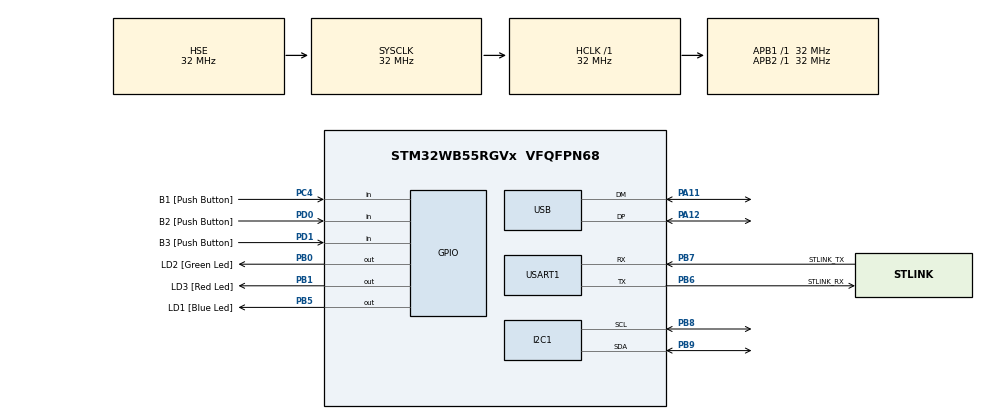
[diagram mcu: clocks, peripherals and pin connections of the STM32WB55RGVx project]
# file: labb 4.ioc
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Mcu.Family=STM32WB
RCC.CortexFreq_Value=32000000
RCC.SMPSCLockSelectionVirtualVirtual=RCC_SMPSCLKSOURCE_HSI
USART1.WordLength=WORDLENGTH_7B
PA14.GPIO_Label=JTCK
PD0.GPIO_Label=B2 [Push Button]
PA11.Mode=Device
PB0.GPIO_Label=LD2 [Green Led]
PB6.GPIO_Label=STLINK_RX
RCC.SYSCLKSource=RCC_SYSCLKSOURCE_HSE
ProjectManager.StackSize=0x400
PA12.Signal=USB_DP
TIM1.Prescaler=3200-1
RCC.HCLKFreq_Value=32000000
RCC.APB2TimFreq_Value=32000000
PB6.Signal=USART1_TX
PB5.PinState=GPIO_PIN_RESET
PB6.Mode=Asynchronous
PD0.Signal=GPIO_Input
OSC_OUT.Mode=HSE-External-Oscillator
OSC_OUT.Signal=RCC_OSC_OUT
RCC.AHBFreq_Value=32000000
RCC.HSE_VALUE=32000000
PB3.Mode=Trace_Asynchronous_SW
PD1.GPIO_Label=B3 [Push Button]
PC14-OSC32_IN.Mode=LSE-External-Oscillator
PC4.GPIO_Label=B1 [Push Button]
PA14.Mode=Trace_Asynchronous_SW
PB1.GPIO_Label=LD3 [Red Led]
PB7.Signal=USART1_RX
VP_TIM1_VS_ClockSourceINT.Mode=Internal
RCC.APB3Freq_Value=16000000
PB7.GPIO_Label=STLINK_TX
Mcu.Package=VFQFPN68
PB9.Signal=I2C1_SDA
TIM2.Prescaler=32-1
PB1.Signal=GPIO_Output
PB5.GPIO_Label=LD1 [Blue Led]
RCC.APB1TimFreq_Value=32000000
TIM1.Period=10000-1
RCC.SMPSDivider=1
RCC.HSI48_VALUE=48000000
RCC.PLLSAI1N=24
PB3.GPIO_Label=JTDO
PB7.GPIO_PuPd=GPIO_PULLUP
PB5.GPIO_ModeDefaultOutputPP=GPIO_MODE_OUTPUT_PP
PC15-OSC32_OUT.Mode=LSE-External-Oscillator
PC13.Signal=SYS_WKUP2
PB6.GPIO_PuPd=GPIO_PULLUP
PC4.Signal=GPIO_Input
PD1.Signal=GPIO_Input
PC14-OSC32_IN.Signal=RCC_OSC32_IN
USART1.VirtualMode-Asynchronous=VM_ASYNC
PA13.Signal=SYS_JTMS-SWDIO
ProjectManager.TargetToolchain=STM32CubeIDE
PB9.Mode=I2C
I2C1.Timing=0x00707CBB
OSC_IN.Signal=RCC_OSC_IN
RCC.USBFreq_Value=48000000
PC15-OSC32_OUT.Signal=RCC_OSC32_OUT
RCC.SMPSCLockSelectionVirtual=RCC_SMPSCLKSOURCE_HSI
board=NUCLEO-WB55RG
RCC.VCOOutputFreq_Value=128000000
RCC.APB2Freq_Value=32000000
VP_TIM2_VS_ClockSourceINT.Mode=Internal
RCC.ADCFreq_Value=48000000
TIM2.Period=0xffff-1
PA13.Mode=Trace_Asynchronous_SW
PC13.Mode=SYS_WakeUp1
Mcu.Name=STM32WB55RGVx
PA13.GPIO_Label=JTMS
PB3.Signal=SYS_JTDO-SWO
RCC.SYSCLKFreq_VALUE=32000000
PB5.Signal=GPIO_Output
PA12.Mode=Device
OSC_IN.Mode=HSE-External-Oscillator
PB7.Mode=Asynchronous
PA11.Signal=USB_DM
PA14.Signal=SYS_JTCK-SWCLK
ProjectManager.HeapSize=0x200
RCC.HSI_VALUE=16000000
NVIC.TIM1_UP_TIM16_IRQn=true\:0\:0\:false\:false\:true\:true\:true
NVIC.PriorityGroup=NVIC_PRIORITYGROUP_4
RCC.PLLN=32
PB8.Mode=I2C
PB8.Signal=I2C1_SCL
RCC.APB1Freq_Value=32000000
PB0.Signal=GPIO_Output

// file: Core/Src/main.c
/* USER CODE BEGIN Header */
/**
 ******************************************************************************
 * @file           : main.c
 * @brief          : Main program body
 ******************************************************************************
 * @attention
 *
 * <h2><center>&copy; Copyright (c) 2021 STMicroelectronics.
 * All rights reserved.</center></h2>
 *
 * This software component is licensed by ST under BSD 3-Clause license,
 * the "License"; You may not use this file except in compliance with the
 * License. You may obtain a copy of the License at:
 *                        opensource.org/licenses/BSD-3-Clause
 *
 ******************************************************************************
 */
/* USER CODE END Header */
#include "main.h"

/* USER CODE BEGIN Includes */
#include "lcd.h"
/* USER CODE END Includes */

I2C_HandleTypeDef hi2c1;

TIM_HandleTypeDef htim1;
TIM_HandleTypeDef htim2;

UART_HandleTypeDef huart1;

PCD_HandleTypeDef hpcd_USB_FS;

/* USER CODE BEGIN PV */
static TextLCDType lcd;
static int sec1;
static int sec10;
static int min1;
static int min10;
/* USER CODE END PV */

void SystemClock_Config(void);
static void MX_GPIO_Init(void);
static void MX_USART1_UART_Init(void);
static void MX_USB_PCD_Init(void);
static void MX_TIM1_Init(void);
static void MX_TIM2_Init(void);
static void MX_I2C1_Init(void);

int main(void)
{

	/* MCU Configuration--------------------------------------------------------*/

	/* Reset of all peripherals, Initializes the Flash interface and the Systick. */
	HAL_Init();

	/* Configure the system clock */
	SystemClock_Config();

	/* Initialize all configured peripherals */
	MX_GPIO_Init();
	MX_USART1_UART_Init();
	MX_USB_PCD_Init();
	MX_TIM1_Init();
	MX_TIM2_Init();
	MX_I2C1_Init();
	/* USER CODE BEGIN 2 */
	HAL_TIM_Base_Start_IT(&htim1);
	HAL_TIM_Base_Start(&htim2);
	TextLCD_Init(&lcd, &hi2c1, 0x4E);
	//HAL_GPIO_WritePin(GPIOB, GPIO_PIN_5, 1);

	/* USER CODE END 2 */

	/* Infinite loop */
	/* USER CODE BEGIN WHILE */
	while (1)
	{
		//delay_us(200);
		HAL_GPIO_WritePin(GPIOB,GPIO_PIN_0,1);
		HAL_GPIO_WritePin(GPIOB,GPIO_PIN_1,0);
		HAL_GPIO_WritePin(GPIOB,GPIO_PIN_5,1);
		HAL_Delay(200);
		/* USER CODE END WHILE */

		/* USER CODE BEGIN 3 */
	}

	void delay_us(uint16_t us){
		__HAL_TIM_SET_COUNTER(&htim2,0);
		while (__HAL_TIM_GET_COUNTER(&htim2) < us);
	}

	void HAL_TIM_PeriodElapsedCallback(TIM_HandleTypeDef *htim){
		if(htim->Instance==TIM1){
			if(++sec1>9){
				sec1=0;
				sec10++;
			}

			if(sec10 > 5){
				min1++;
				sec10 = 0;
			}

			if(min1 > 9)
			{
				min10++;
				min1=0;
			}

			if(min10>5)
				min10=0;

		}
		TextLCD_Position(&lcd, 6, 0);
		TextLCD_Data(&lcd, '0'+min10);	//Set 10 minute digit
		TextLCD_Position(&lcd, 7, 0);
		TextLCD_Data(&lcd, '0'+min1);	//set 1 minute digit
		TextLCD_Position(&lcd, 8, 0);
		TextLCD_Data(&lcd, ':');
		TextLCD_Position(&lcd, 9, 0);
		TextLCD_Data(&lcd, '0'+sec10);	//set 10 second digit
		TextLCD_Position(&lcd, 10, 0);
		TextLCD_Data(&lcd, '0'+sec1);	//set 1 second digit

	}

	/* USER CODE END 3 */
}

void SystemClock_Config(void)
{
	RCC_OscInitTypeDef RCC_OscInitStruct = {0};
	RCC_ClkInitTypeDef RCC_ClkInitStruct = {0};
	RCC_PeriphCLKInitTypeDef PeriphClkInitStruct = {0};

	/** Macro to configure the PLL multiplication factor
	 */
	__HAL_RCC_PLL_PLLM_CONFIG(RCC_PLLM_DIV1);
	/** Macro to configure the PLL clock source
	 */
	__HAL_RCC_PLL_PLLSOURCE_CONFIG(RCC_PLLSOURCE_MSI);
	/** Configure LSE Drive Capability
	 */
	HAL_PWR_EnableBkUpAccess();
	__HAL_RCC_LSEDRIVE_CONFIG(RCC_LSEDRIVE_LOW);
	/** Configure the main internal regulator output voltage
	 */
	__HAL_PWR_VOLTAGESCALING_CONFIG(PWR_REGULATOR_VOLTAGE_SCALE1);
	/** Initializes the RCC Oscillators according to the specified parameters
	 * in the RCC_OscInitTypeDef structure.
	 */
	RCC_OscInitStruct.OscillatorType = RCC_OSCILLATORTYPE_HSI|RCC_OSCILLATORTYPE_HSE
			|RCC_OSCILLATORTYPE_LSE|RCC_OSCILLATORTYPE_MSI;
	RCC_OscInitStruct.HSEState = RCC_HSE_ON;
	RCC_OscInitStruct.LSEState = RCC_LSE_ON;
	RCC_OscInitStruct.HSIState = RCC_HSI_ON;
	RCC_OscInitStruct.MSIState = RCC_MSI_ON;
	RCC_OscInitStruct.HSICalibrationValue = RCC_HSICALIBRATION_DEFAULT;
	RCC_OscInitStruct.MSICalibrationValue = RCC_MSICALIBRATION_DEFAULT;
	RCC_OscInitStruct.MSIClockRange = RCC_MSIRANGE_6;
	RCC_OscInitStruct.PLL.PLLState = RCC_PLL_NONE;
	if (HAL_RCC_OscConfig(&RCC_OscInitStruct) != HAL_OK)
	{
		Error_Handler();
	}
	/** Configure the SYSCLKSource, HCLK, PCLK1 and PCLK2 clocks dividers
	 */
	RCC_ClkInitStruct.ClockType = RCC_CLOCKTYPE_HCLK4|RCC_CLOCKTYPE_HCLK2
			|RCC_CLOCKTYPE_HCLK|RCC_CLOCKTYPE_SYSCLK
			|RCC_CLOCKTYPE_PCLK1|RCC_CLOCKTYPE_PCLK2;
	RCC_ClkInitStruct.SYSCLKSource = RCC_SYSCLKSOURCE_HSE;
	RCC_ClkInitStruct.AHBCLKDivider = RCC_SYSCLK_DIV1;
	RCC_ClkInitStruct.APB1CLKDivider = RCC_HCLK_DIV1;
	RCC_ClkInitStruct.APB2CLKDivider = RCC_HCLK_DIV1;
	RCC_ClkInitStruct.AHBCLK2Divider = RCC_SYSCLK_DIV1;
	RCC_ClkInitStruct.AHBCLK4Divider = RCC_SYSCLK_DIV1;

	if (HAL_RCC_ClockConfig(&RCC_ClkInitStruct, FLASH_LATENCY_1) != HAL_OK)
	{
		Error_Handler();
	}
	/** Initializes the peripherals clocks
	 */
	PeriphClkInitStruct.PeriphClockSelection = RCC_PERIPHCLK_SMPS|RCC_PERIPHCLK_USART1
			|RCC_PERIPHCLK_I2C1|RCC_PERIPHCLK_USB;
	PeriphClkInitStruct.PLLSAI1.PLLN = 24;
	PeriphClkInitStruct.PLLSAI1.PLLP = RCC_PLLP_DIV2;
	PeriphClkInitStruct.PLLSAI1.PLLQ = RCC_PLLQ_DIV2;
	PeriphClkInitStruct.PLLSAI1.PLLR = RCC_PLLR_DIV2;
	PeriphClkInitStruct.PLLSAI1.PLLSAI1ClockOut = RCC_PLLSAI1_USBCLK;
	PeriphClkInitStruct.Usart1ClockSelection = RCC_USART1CLKSOURCE_PCLK2;
	PeriphClkInitStruct.I2c1ClockSelection = RCC_I2C1CLKSOURCE_PCLK1;
	PeriphClkInitStruct.UsbClockSelection = RCC_USBCLKSOURCE_PLLSAI1;
	PeriphClkInitStruct.SmpsClockSelection = RCC_SMPSCLKSOURCE_HSI;
	PeriphClkInitStruct.SmpsDivSelection = RCC_SMPSCLKDIV_RANGE0;
	if (HAL_RCCEx_PeriphCLKConfig(&PeriphClkInitStruct) != HAL_OK)
	{
		Error_Handler();
	}
	/** Enable MSI Auto calibration
	 */
	HAL_RCCEx_EnableMSIPLLMode();
}

static void MX_I2C1_Init(void)
{

	hi2c1.Instance = I2C1;
	hi2c1.Init.Timing = 0x00707CBB;
	hi2c1.Init.OwnAddress1 = 0;
	hi2c1.Init.AddressingMode = I2C_ADDRESSINGMODE_7BIT;
	hi2c1.Init.DualAddressMode = I2C_DUALADDRESS_DISABLE;
	hi2c1.Init.OwnAddress2 = 0;
	hi2c1.Init.OwnAddress2Masks = I2C_OA2_NOMASK;
	hi2c1.Init.GeneralCallMode = I2C_GENERALCALL_DISABLE;
	hi2c1.Init.NoStretchMode = I2C_NOSTRETCH_DISABLE;
	if (HAL_I2C_Init(&hi2c1) != HAL_OK)
	{
		Error_Handler();
	}
	/** Configure Analogue filter
	 */
	if (HAL_I2CEx_ConfigAnalogFilter(&hi2c1, I2C_ANALOGFILTER_ENABLE) != HAL_OK)
	{
		Error_Handler();
	}
	/** Configure Digital filter
	 */
	if (HAL_I2CEx_ConfigDigitalFilter(&hi2c1, 0) != HAL_OK)
	{
		Error_Handler();
	}

}

static void MX_TIM1_Init(void)
{

	TIM_ClockConfigTypeDef sClockSourceConfig = {0};
	TIM_MasterConfigTypeDef sMasterConfig = {0};

	htim1.Instance = TIM1;
	htim1.Init.Prescaler = 3200-1;
	htim1.Init.CounterMode = TIM_COUNTERMODE_UP;
	htim1.Init.Period = 10000-1;
	htim1.Init.ClockDivision = TIM_CLOCKDIVISION_DIV1;
	htim1.Init.RepetitionCounter = 0;
	htim1.Init.AutoReloadPreload = TIM_AUTORELOAD_PRELOAD_DISABLE;
	if (HAL_TIM_Base_Init(&htim1) != HAL_OK)
	{
		Error_Handler();
	}
	sClockSourceConfig.ClockSource = TIM_CLOCKSOURCE_INTERNAL;
	if (HAL_TIM_ConfigClockSource(&htim1, &sClockSourceConfig) != HAL_OK)
	{
		Error_Handler();
	}
	sMasterConfig.MasterOutputTrigger = TIM_TRGO_RESET;
	sMasterConfig.MasterOutputTrigger2 = TIM_TRGO2_RESET;
	sMasterConfig.MasterSlaveMode = TIM_MASTERSLAVEMODE_DISABLE;
	if (HAL_TIMEx_MasterConfigSynchronization(&htim1, &sMasterConfig) != HAL_OK)
	{
		Error_Handler();
	}

}

static void MX_TIM2_Init(void)
{

	TIM_ClockConfigTypeDef sClockSourceConfig = {0};
	TIM_MasterConfigTypeDef sMasterConfig = {0};

	htim2.Instance = TIM2;
	htim2.Init.Prescaler = 32-1;
	htim2.Init.CounterMode = TIM_COUNTERMODE_UP;
	htim2.Init.Period = 0xffff-1;
	htim2.Init.ClockDivision = TIM_CLOCKDIVISION_DIV1;
	htim2.Init.AutoReloadPreload = TIM_AUTORELOAD_PRELOAD_DISABLE;
	if (HAL_TIM_Base_Init(&htim2) != HAL_OK)
	{
		Error_Handler();
	}
	sClockSourceConfig.ClockSource = TIM_CLOCKSOURCE_INTERNAL;
	if (HAL_TIM_ConfigClockSource(&htim2, &sClockSourceConfig) != HAL_OK)
	{
		Error_Handler();
	}
	sMasterConfig.MasterOutputTrigger = TIM_TRGO_RESET;
	sMasterConfig.MasterSlaveMode = TIM_MASTERSLAVEMODE_DISABLE;
	if (HAL_TIMEx_MasterConfigSynchronization(&htim2, &sMasterConfig) != HAL_OK)
	{
		Error_Handler();
	}

}

static void MX_USART1_UART_Init(void)
{

	huart1.Instance = USART1;
	huart1.Init.BaudRate = 115200;
	huart1.Init.WordLength = UART_WORDLENGTH_7B;
	huart1.Init.StopBits = UART_STOPBITS_1;
	huart1.Init.Parity = UART_PARITY_NONE;
	huart1.Init.Mode = UART_MODE_TX_RX;
	huart1.Init.HwFlowCtl = UART_HWCONTROL_NONE;
	huart1.Init.OverSampling = UART_OVERSAMPLING_16;
	huart1.Init.OneBitSampling = UART_ONE_BIT_SAMPLE_DISABLE;
	huart1.Init.ClockPrescaler = UART_PRESCALER_DIV1;
	huart1.AdvancedInit.AdvFeatureInit = UART_ADVFEATURE_NO_INIT;
	if (HAL_UART_Init(&huart1) != HAL_OK)
	{
		Error_Handler();
	}
	if (HAL_UARTEx_SetTxFifoThreshold(&huart1, UART_TXFIFO_THRESHOLD_1_8) != HAL_OK)
	{
		Error_Handler();
	}
	if (HAL_UARTEx_SetRxFifoThreshold(&huart1, UART_RXFIFO_THRESHOLD_1_8) != HAL_OK)
	{
		Error_Handler();
	}
	if (HAL_UARTEx_DisableFifoMode(&huart1) != HAL_OK)
	{
		Error_Handler();
	}

}

static void MX_USB_PCD_Init(void)
{

	hpcd_USB_FS.Instance = USB;
	hpcd_USB_FS.Init.dev_endpoints = 8;
	hpcd_USB_FS.Init.speed = PCD_SPEED_FULL;
	hpcd_USB_FS.Init.phy_itface = PCD_PHY_EMBEDDED;
	hpcd_USB_FS.Init.Sof_enable = DISABLE;
	hpcd_USB_FS.Init.low_power_enable = DISABLE;
	hpcd_USB_FS.Init.lpm_enable = DISABLE;
	hpcd_USB_FS.Init.battery_charging_enable = DISABLE;
	if (HAL_PCD_Init(&hpcd_USB_FS) != HAL_OK)
	{
		Error_Handler();
	}

}

static void MX_GPIO_Init(void)
{
	GPIO_InitTypeDef GPIO_InitStruct = {0};

	/* GPIO Ports Clock Enable */
	__HAL_RCC_GPIOC_CLK_ENABLE();
	__HAL_RCC_GPIOB_CLK_ENABLE();
	__HAL_RCC_GPIOA_CLK_ENABLE();
	__HAL_RCC_GPIOD_CLK_ENABLE();

	/*Configure GPIO pin Output Level */
	HAL_GPIO_WritePin(GPIOB, LD2_Pin|LD3_Pin|LD1_Pin, GPIO_PIN_RESET);

	/*Configure GPIO pin : B1_Pin */
	GPIO_InitStruct.Pin = B1_Pin;
	GPIO_InitStruct.Mode = GPIO_MODE_INPUT;
	GPIO_InitStruct.Pull = GPIO_NOPULL;
	HAL_GPIO_Init(B1_GPIO_Port, &GPIO_InitStruct);

	/*Configure GPIO pins : LD2_Pin LD3_Pin LD1_Pin */
	GPIO_InitStruct.Pin = LD2_Pin|LD3_Pin|LD1_Pin;
	GPIO_InitStruct.Mode = GPIO_MODE_OUTPUT_PP;
	GPIO_InitStruct.Pull = GPIO_NOPULL;
	GPIO_InitStruct.Speed = GPIO_SPEED_FREQ_LOW;
	HAL_GPIO_Init(GPIOB, &GPIO_InitStruct);

	/*Configure GPIO pins : B2_Pin B3_Pin */
	GPIO_InitStruct.Pin = B2_Pin|B3_Pin;
	GPIO_InitStruct.Mode = GPIO_MODE_INPUT;
	GPIO_InitStruct.Pull = GPIO_NOPULL;
	HAL_GPIO_Init(GPIOD, &GPIO_InitStruct);

}

void Error_Handler(void)
{
	__disable_irq();
	while (1)
	{
	}
}

/************************ (C) COPYRIGHT STMicroelectronics *****END OF FILE****/
